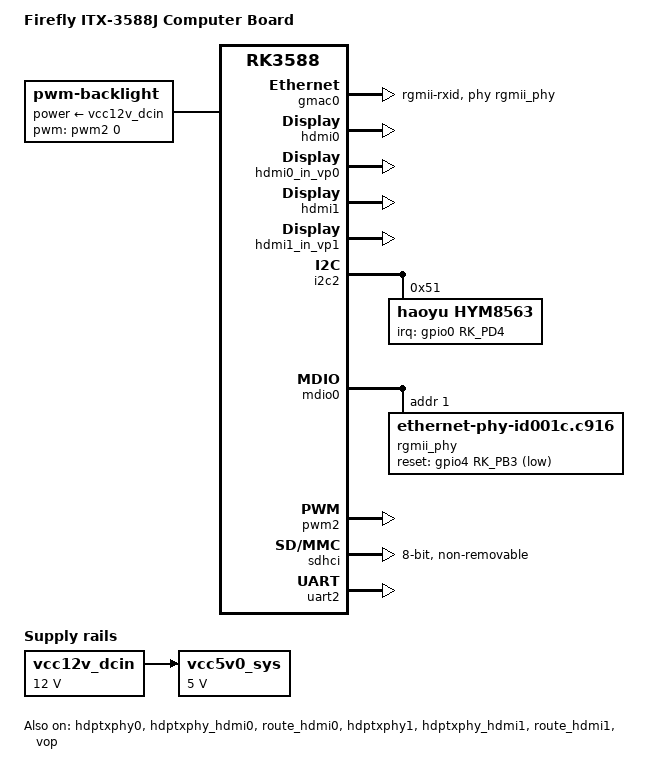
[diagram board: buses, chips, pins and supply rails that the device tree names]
// SPDX-License-Identifier: (GPL-2.0+ OR MIT)
/*
 * Copyright (c) 2021 Rockchip Electronics Co., Ltd.
 * revamp (C) 2023 Shimrra Shai <shimmyshai00@gmail.com>
 *
 */

/dts-v1/;

#include <dt-bindings/gpio/gpio.h>
#include <dt-bindings/pinctrl/rockchip.h>
#include <dt-bindings/display/drm_mipi_dsi.h>
#include <dt-bindings/display/rockchip_vop.h>
#include "rk3588.dtsi"

/ {
	model = "Firefly ITX-3588J Computer Board";
	compatible = "rockchip,rk3588-firefly-itx-3588j", "rockchip,rk3588";

	aliases {
		mmc0 = &sdhci;
		serial2 = &uart2;
	};

	chosen {
		stdout-path = "serial2:1500000n8";
	};

	backlight: backlight {
		compatible = "pwm-backlight";
		power-supply = <&vcc12v_dcin>;
		pwms = <&pwm2 0 25000 0>;
	};

	vcc12v_dcin: vcc12v-dcin-regulator {
		compatible = "regulator-fixed";
		regulator-name = "vcc12v_dcin";
		regulator-always-on;
		regulator-boot-on;
		regulator-min-microvolt = <12000000>;
		regulator-max-microvolt = <12000000>;
	};

	vcc5v0_sys: vcc5v0-sys-regulator {
		compatible = "regulator-fixed";
		regulator-name = "vcc5v0_sys";
		regulator-always-on;
		regulator-boot-on;
		regulator-min-microvolt = <5000000>;
		regulator-max-microvolt = <5000000>;
		vin-supply = <&vcc12v_dcin>;
	};
};

&display_subsystem {
	memory-region = <&drm_logo>;
	memory-region-names = "drm-logo";
};

&gmac0 {
	clock_in_out = "output";
	phy-handle = <&rgmii_phy>;
	phy-mode = "rgmii-rxid";
	pinctrl-0 = <&gmac0_miim
		     &gmac0_tx_bus2
		     &gmac0_rx_bus2
		     &gmac0_rgmii_clk
		     &gmac0_rgmii_bus>;
	pinctrl-names = "default";
	rx_delay = <0x00>;
	tx_delay = <0x43>;
	status = "okay";
};

/* hdmi0 */
&hdmi0 {
	enable-gpios = <&gpio4 RK_PA0 GPIO_ACTIVE_HIGH>;
	status = "okay";
};

&hdmi0_in_vp0 {
	status = "okay";
};

&hdptxphy0 {
	status = "okay";
};

&hdptxphy_hdmi0 {
	status = "okay";
};

&route_hdmi0 {
	status = "okay";
};

/* hdmi1 */
&hdmi1 {
	enable-gpios = <&gpio4 RK_PB2 GPIO_ACTIVE_HIGH>;
	status = "okay";
};

&hdmi1_in_vp1 {
        status = "okay";
};

&hdptxphy1 {
	status = "okay";
};

&hdptxphy_hdmi1 {
	status = "okay";
};

&route_hdmi1 {
	status = "okay";
	connect = <&vp1_out_hdmi1>;
};

&i2c2 {
	status = "okay";

	hym8563: rtc@51 {
		compatible = "haoyu,hym8563";
		reg = <0x51>;
		#clock-cells = <0>;
		clock-output-names = "hym8563";
		pinctrl-names = "default";
		pinctrl-0 = <&hym8563_int>;
		interrupt-parent = <&gpio0>;
		interrupts = <RK_PD4 IRQ_TYPE_LEVEL_LOW>;
		wakeup-source;
	};
};

&mdio0 {
	rgmii_phy: ethernet-phy@1 {
		/* RTL8211F */
		compatible = "ethernet-phy-id001c.c916";
		reg = <0x1>;
		pinctrl-names = "default";
		pinctrl-0 = <&rtl8211f_rst>;
		reset-assert-us = <20000>;
		reset-deassert-us = <100000>;
		reset-gpios = <&gpio4 RK_PB3 GPIO_ACTIVE_LOW>;
	};
};

&pinctrl {
	dp {
		dp1_hpd: dp1-hpd {
			 rockchip,pins = <1 RK_PA4 RK_FUNC_GPIO &pcfg_pull_none>;
		};
	};
	
	lcd {
		lcd_rst_gpio: lcd-rst-gpio {
			rockchip,pins = <2 RK_PB4 RK_FUNC_GPIO &pcfg_pull_none>;
		};
	};
	
	rtl8211f {
		rtl8211f_rst: rtl8211f-rst {
			rockchip,pins = <4 RK_PB3 RK_FUNC_GPIO &pcfg_pull_none>;
		};

	};

	hym8563 {
		hym8563_int: hym8563-int {
			rockchip,pins = <0 RK_PD4 RK_FUNC_GPIO &pcfg_pull_up>;
		};
	};
};

&pwm2 {
	status = "okay";
};

&sdhci {
	bus-width = <8>;
	no-sdio;
	no-sd;
	non-removable;
	max-frequency = <200000000>;
	mmc-hs400-1_8v;
	mmc-hs400-enhanced-strobe;
	status = "okay";
};

&uart2 {
	pinctrl-0 = <&uart2m0_xfer>;
	status = "okay";
};

&vop {
	status = "okay";
};

&vop_mmu {
	status = "okay";
};

/* vp0 & vp1 splice for 8K output */
&vp0 {
	rockchip,plane-mask = <(1 << ROCKCHIP_VOP2_CLUSTER0 | 1 << ROCKCHIP_VOP2_ESMART0)>;
	rockchip,primary-plane = <ROCKCHIP_VOP2_ESMART0>;
};

&vp1 {
	rockchip,plane-mask = <(1 << ROCKCHIP_VOP2_CLUSTER1 | 1 << ROCKCHIP_VOP2_ESMART1)>;
	rockchip,primary-plane = <ROCKCHIP_VOP2_ESMART1>;
};

&vp2 {
	rockchip,plane-mask = <(1 << ROCKCHIP_VOP2_CLUSTER2 | 1 << ROCKCHIP_VOP2_ESMART2)>;
	rockchip,primary-plane = <ROCKCHIP_VOP2_ESMART2>;
};

&vp3 {
	rockchip,plane-mask = <(1 << ROCKCHIP_VOP2_CLUSTER3 | 1 << ROCKCHIP_VOP2_ESMART3)>;
	rockchip,primary-plane = <ROCKCHIP_VOP2_ESMART3>;
};
